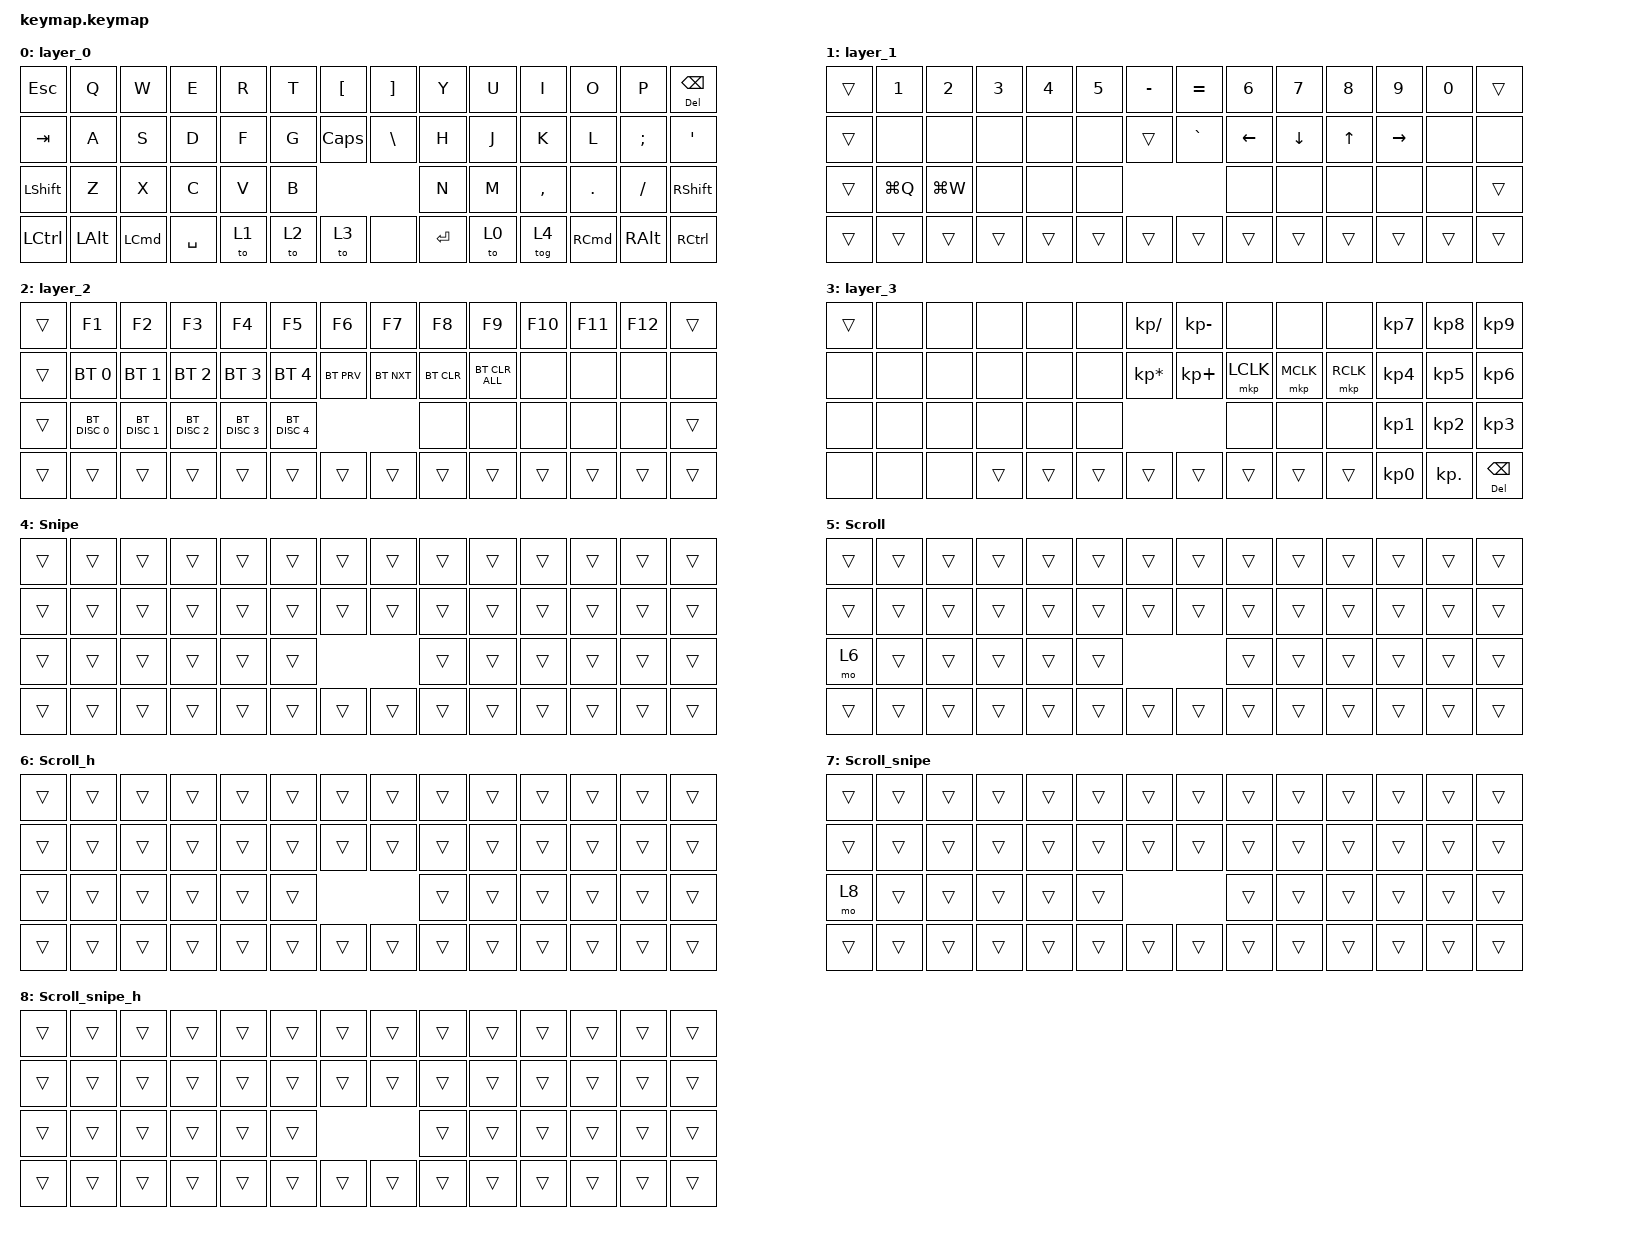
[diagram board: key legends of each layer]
#include <behaviors.dtsi>
#include <dt-bindings/zmk/bt.h>
#include <dt-bindings/zmk/keys.h>
#include <dt-bindings/zmk/pointing.h>

/ {
    behaviors {
        ht_boot_reset: ht_boot_reset {
            compatible = "zmk,behavior-hold-tap";
            label = "HT_BOOT_RESET";
            bindings = <&bootloader>, <&sys_reset>;

            #binding-cells = <2>;
            tapping-term-ms = <1000>;
        };
    };

    combos {
        compatible = "zmk,combos";

        Scroll {
            bindings = <&to 5>;
            key-positions = <50 44>;
        };

        Scroll_snip {
            bindings = <&to 7>;
            key-positions = <50 46>;
        };

        Boot_ReSet {
            bindings = <&ht_boot_reset 0 0>;
            key-positions = <40 41>;
            layers = <3>;
        };
    };

    keymap {
        compatible = "zmk,keymap";

        layer_0 {
            bindings = <
&kp ESC           &kp Q         &kp W             &kp E      &kp R  &kp T  &kp LEFT_BRACKET  &kp RIGHT_BRACKET  &kp Y      &kp U  &kp I      &kp O              &kp P          &mt DELETE BACKSPACE
&kp TAB           &kp A         &kp S             &kp D      &kp F  &kp G  &kp CAPS          &kp BACKSLASH      &kp H      &kp J  &kp K      &kp L              &kp SEMICOLON  &kp SQT
&kp LEFT_SHIFT    &kp Z         &kp X             &kp C      &kp V  &kp B                                       &kp N      &kp M  &kp COMMA  &kp PERIOD         &kp SLASH      &kp RIGHT_SHIFT
&kp LEFT_CONTROL  &kp LEFT_ALT  &kp LEFT_COMMAND  &kp SPACE  &to 1  &to 2  &to 3             &none              &kp ENTER  &to 0  &tog 4     &kp RIGHT_COMMAND  &kp RIGHT_ALT  &kp RIGHT_CONTROL
            >;
        };

        layer_1 {
            bindings = <
&trans  &kp NUMBER_1  &kp NUMBER_2  &kp NUMBER_3  &kp NUMBER_4  &kp N5  &kp MINUS  &kp EQUAL  &kp NUMBER_6  &kp NUMBER_7    &kp NUMBER_8  &kp NUMBER_9  &kp NUMBER_0  &trans
&trans  &none         &none         &none         &none         &none   &trans     &kp GRAVE  &kp LEFT      &kp DOWN_ARROW  &kp UP_ARROW  &kp RIGHT     &none         &none
&trans  &kp LG(Q)     &kp LG(W)     &none         &none         &none                         &none         &none           &none         &none         &none         &trans
&trans  &trans        &trans        &trans        &trans        &trans  &trans     &trans     &trans        &trans          &trans        &trans        &trans        &trans
            >;
        };

        layer_2 {
            bindings = <
&trans  &kp F1         &kp F2         &kp F3         &kp F4         &kp F5         &kp F6      &kp F7      &kp F8      &kp F9          &kp F10  &kp F11  &kp F12  &trans
&trans  &bt BT_SEL 0   &bt BT_SEL 1   &bt BT_SEL 2   &bt BT_SEL 3   &bt BT_SEL 4   &bt BT_PRV  &bt BT_NXT  &bt BT_CLR  &bt BT_CLR_ALL  &none    &none    &none    &none
&trans  &bt BT_DISC 0  &bt BT_DISC 1  &bt BT_DISC 2  &bt BT_DISC 3  &bt BT_DISC 4                          &none       &none           &none    &none    &none    &trans
&trans  &trans         &trans         &trans         &trans         &trans         &trans      &trans      &trans      &trans          &trans   &trans   &trans   &trans
            >;
        };

        layer_3 {
            bindings = <
&trans  &none  &none  &none   &none   &none   &kp KP_SLASH     &kp KP_MINUS  &none      &none      &none      &kp KP_NUMBER_7  &kp KP_NUMBER_8  &kp KP_NUMBER_9
&none   &none  &none  &none   &none   &none   &kp KP_ASTERISK  &kp KP_PLUS   &mkp LCLK  &mkp MCLK  &mkp RCLK  &kp KP_NUMBER_4  &kp KP_NUMBER_5  &kp KP_NUMBER_6
&none   &none  &none  &none   &none   &none                                  &none      &none      &none      &kp KP_NUMBER_1  &kp KP_NUMBER_2  &kp KP_NUMBER_3
&none   &none  &none  &trans  &trans  &trans  &trans           &trans        &trans     &trans     &trans     &kp KP_NUMBER_0  &kp KP_DOT       &mt DELETE BACKSPACE
            >;
        };

        Snipe {
            bindings = <
&trans  &trans  &trans  &trans  &trans  &trans  &trans  &trans  &trans  &trans  &trans  &trans  &trans  &trans
&trans  &trans  &trans  &trans  &trans  &trans  &trans  &trans  &trans  &trans  &trans  &trans  &trans  &trans
&trans  &trans  &trans  &trans  &trans  &trans                  &trans  &trans  &trans  &trans  &trans  &trans
&trans  &trans  &trans  &trans  &trans  &trans  &trans  &trans  &trans  &trans  &trans  &trans  &trans  &trans
            >;
        };

        Scroll {
            bindings = <
&trans  &trans  &trans  &trans  &trans  &trans  &trans  &trans  &trans  &trans  &trans  &trans  &trans  &trans
&trans  &trans  &trans  &trans  &trans  &trans  &trans  &trans  &trans  &trans  &trans  &trans  &trans  &trans
&mo 6   &trans  &trans  &trans  &trans  &trans                  &trans  &trans  &trans  &trans  &trans  &trans
&trans  &trans  &trans  &trans  &trans  &trans  &trans  &trans  &trans  &trans  &trans  &trans  &trans  &trans
            >;
        };

        Scroll_h {
            bindings = <
&trans  &trans  &trans  &trans  &trans  &trans  &trans  &trans  &trans  &trans  &trans  &trans  &trans  &trans
&trans  &trans  &trans  &trans  &trans  &trans  &trans  &trans  &trans  &trans  &trans  &trans  &trans  &trans
&trans  &trans  &trans  &trans  &trans  &trans                  &trans  &trans  &trans  &trans  &trans  &trans
&trans  &trans  &trans  &trans  &trans  &trans  &trans  &trans  &trans  &trans  &trans  &trans  &trans  &trans
            >;
        };

        Scroll_snipe {
            bindings = <
&trans  &trans  &trans  &trans  &trans  &trans  &trans  &trans  &trans  &trans  &trans  &trans  &trans  &trans
&trans  &trans  &trans  &trans  &trans  &trans  &trans  &trans  &trans  &trans  &trans  &trans  &trans  &trans
&mo 8   &trans  &trans  &trans  &trans  &trans                  &trans  &trans  &trans  &trans  &trans  &trans
&trans  &trans  &trans  &trans  &trans  &trans  &trans  &trans  &trans  &trans  &trans  &trans  &trans  &trans
            >;
        };

        Scroll_snipe_h {
            bindings = <
&trans  &trans  &trans  &trans  &trans  &trans  &trans  &trans  &trans  &trans  &trans  &trans  &trans  &trans
&trans  &trans  &trans  &trans  &trans  &trans  &trans  &trans  &trans  &trans  &trans  &trans  &trans  &trans
&trans  &trans  &trans  &trans  &trans  &trans                  &trans  &trans  &trans  &trans  &trans  &trans
&trans  &trans  &trans  &trans  &trans  &trans  &trans  &trans  &trans  &trans  &trans  &trans  &trans  &trans
            >;
        };
    };
};
